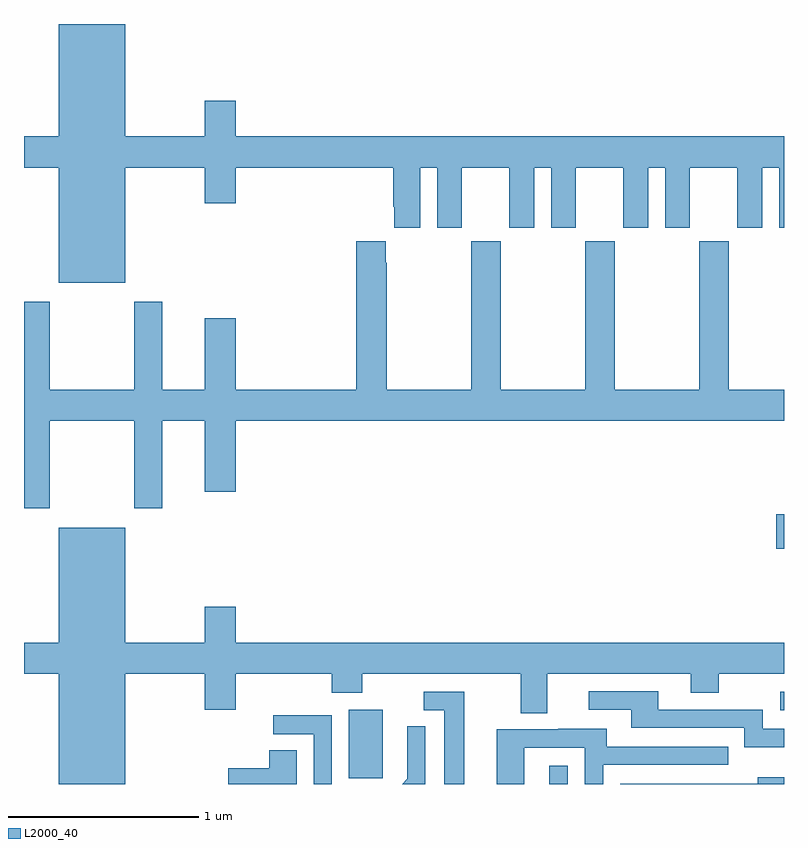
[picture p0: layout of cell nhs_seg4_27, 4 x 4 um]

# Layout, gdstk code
import gdstk
lib = gdstk.Library(unit=1e-6, precision=1e-09)
def R(c, l, rs):  # rectangles x0, y0, x1, y1
    for r in rs: c.add(gdstk.rectangle(r[:2], r[2:], *l))
def P(c, l, *ps):  # polygons
    for p in ps: c.add(gdstk.Polygon(p, *l))
L2000_40 = (2000, 40)

nhs_seg4_27 = lib.new_cell('nhs_seg4_27')
R(nhs_seg4_27, L2000_40, [(113.765,802.9,113.862,802.996), (112.709,802.929,112.888,803.29), (114.981,803.289,115,803.385), (114.96,804.137,115,804.32)])
P(nhs_seg4_27, L2000_40, [(111.532,806.144),(111.95,806.144),(111.95,805.956),(112.114,805.956),(112.114,806.144),(112.943,806.144),(112.943,805.939),(112.949,805.939),(112.949,805.827),(113.086,805.827),(113.086,806.144),(113.174,806.144),(113.174,805.827),(113.305,805.827),(113.305,806.144),(113.555,806.144),(113.555,805.827),(113.686,805.827),(113.686,806.144),(113.774,806.144),(113.774,805.827),(113.905,805.827),(113.905,806.144),(114.155,806.144),(114.155,805.827),(114.286,805.827),(114.286,806.144),(114.374,806.144),(114.374,805.827),(114.505,805.827),(114.505,806.144),(114.755,806.144),(114.755,805.827),(114.886,805.827),(114.886,806.144),(114.974,806.144),(114.974,805.827),(115,805.827),(115,806.308),(112.114,806.308),(112.114,806.497),(111.95,806.497),(111.95,806.308),(111.532,806.308),(111.532,806.9),(111.182,806.9),(111.182,806.308),(111,806.308),(111,806.144),(111.182,806.144),(111.182,805.538),(111.532,805.538)],
  [(111.135,804.812),(111.58,804.812),(111.58,804.351),(111.727,804.351),(111.727,804.812),(111.95,804.812),(111.95,804.438),(112.114,804.438),(112.114,804.812),(115,804.812),(115,804.976),(114.708,804.976),(114.708,805.756),(114.553,805.756),(114.553,804.976),(114.108,804.976),(114.108,805.756),(113.953,805.756),(113.953,804.976),(113.508,804.976),(113.508,805.756),(113.353,805.756),(113.353,804.976),(112.908,804.976),(112.908,805.643),(112.903,805.643),(112.903,805.756),(112.748,805.756),(112.748,804.976),(112.114,804.976),(112.114,805.351),(111.95,805.351),(111.95,804.976),(111.727,804.976),(111.727,805.438),(111.58,805.438),(111.58,804.976),(111.135,804.976),(111.135,805.438),(111,805.438),(111,804.351),(111.135,804.351)],
  [(111.532,803.48),(111.95,803.48),(111.95,803.292),(112.114,803.292),(112.114,803.48),(112.619,803.48),(112.619,803.381),(112.779,803.381),(112.779,803.48),(113.615,803.48),(113.615,803.272),(113.755,803.272),(113.755,803.48),(114.509,803.48),(114.509,803.381),(114.657,803.381),(114.657,803.48),(115,803.48),(115,803.644),(112.114,803.644),(112.114,803.833),(111.95,803.833),(111.95,803.644),(111.532,803.644),(111.532,804.25),(111.182,804.25),(111.182,803.644),(111,803.644),(111,803.48),(111.182,803.48),(111.182,802.9),(111.532,802.9)],
  [(115,803.19),(114.888,803.19),(114.888,803.292),(114.337,803.292),(114.337,803.388),(113.973,803.388),(113.973,803.292),(114.197,803.292),(114.197,803.196),(114.792,803.196),(114.792,803.093),(115,803.093)],
  [(113.317,803.385),(113.103,803.385),(113.103,803.289),(113.213,803.289),(113.213,802.9),(113.317,802.9)],
  [(112.62,803.262),(112.311,803.262),(112.311,803.163),(112.524,803.163),(112.524,802.9),(112.62,802.9)],
  [(113.112,803.204),(113.016,803.204),(113.016,803.05),(113.018,803.05),(113.018,802.928),(112.99,802.9),(113.112,802.9)],
  [(113.634,803.091),(113.952,803.091),(113.952,802.9),(114.048,802.9),(114.048,803.001),(114.707,803.001),(114.707,803.097),(114.067,803.097),(114.067,803.191),(113.813,803.191),(113.813,803.187),(113.489,803.187),(113.489,802.9),(113.634,802.9)],
  [(112.435,803.078),(112.292,803.078),(112.292,802.983),(112.074,802.983),(112.074,802.9),(112.435,802.9)],
  [(115,802.936),(114.863,802.936),(114.863,802.902),(114.138,802.902),(114.138,802.9),(115,802.9)])

lib.write_gds('nhs_seg4_27.gds')
